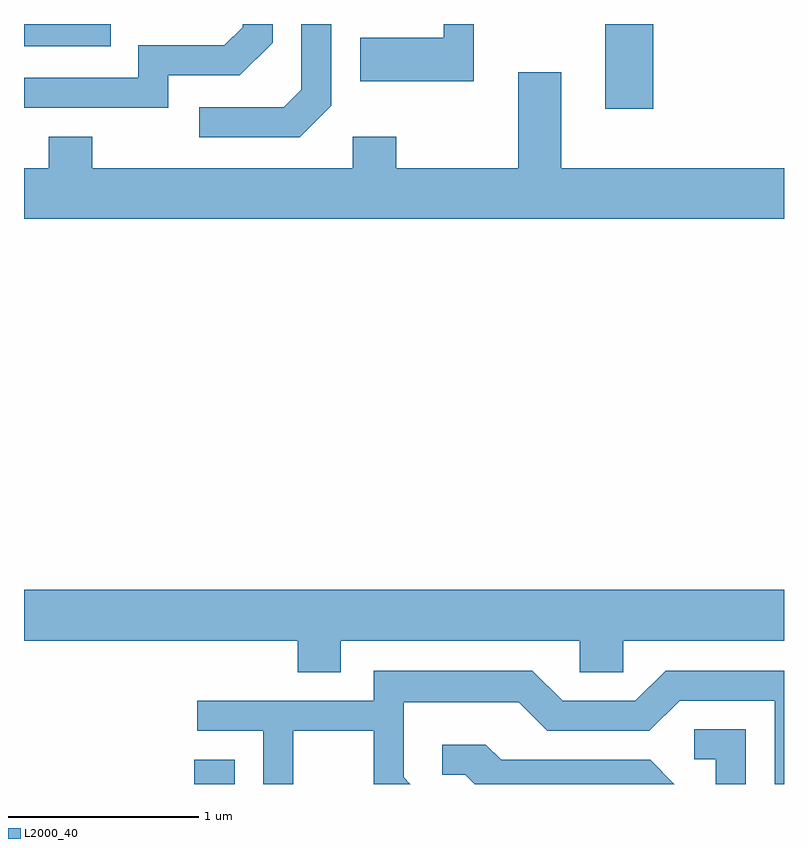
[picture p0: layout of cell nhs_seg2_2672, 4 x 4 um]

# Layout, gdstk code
import gdstk
lib = gdstk.Library(unit=1e-6, precision=1e-09)
def R(c, l, rs):  # rectangles x0, y0, x1, y1
    for r in rs: c.add(gdstk.rectangle(r[:2], r[2:], *l))
def P(c, l, *ps):  # polygons
    for p in ps: c.add(gdstk.Polygon(p, *l))
L2000_40 = (2000, 40)

nhs_seg2_2672 = lib.new_cell('nhs_seg2_2672')
R(nhs_seg2_2672, L2000_40, [(264.506,1029.802,264.719,1029.929), (266.671,1033.356,266.924,1033.802), (263.611,1033.686,264.068,1033.802)])
P(nhs_seg2_2672, L2000_40, [(265.979,1033.802),(265.821,1033.802),(265.821,1033.729),(265.381,1033.729),(265.381,1033.501),(265.979,1033.501)],
  [(265.229,1033.373),(265.229,1033.802),(265.071,1033.802),(265.071,1033.457),(264.979,1033.364),(264.533,1033.364),(264.533,1033.206),(265.062,1033.206)],
  [(264.369,1033.531),(264.747,1033.531),(264.919,1033.704),(264.919,1033.802),(264.761,1033.802),(264.761,1033.786),(264.664,1033.689),(264.211,1033.689),(264.211,1033.519),(263.611,1033.519),(263.611,1033.361),(264.369,1033.361)],
  [(267.611,1033.044),(266.439,1033.044),(266.439,1033.549),(266.211,1033.549),(266.211,1033.044),(265.569,1033.044),(265.569,1033.209),(265.341,1033.209),(265.341,1033.044),(263.969,1033.044),(263.969,1033.209),(263.741,1033.209),(263.741,1033.044),(263.611,1033.044),(263.611,1032.776),(267.611,1032.776)],
  [(265.279,1030.556),(266.536,1030.556),(266.536,1030.391),(266.764,1030.391),(266.764,1030.556),(267.611,1030.556),(267.611,1030.824),(263.611,1030.824),(263.611,1030.556),(265.051,1030.556),(265.051,1030.391),(265.279,1030.391)],
  [(265.029,1030.081),(265.451,1030.081),(265.451,1029.802),(265.644,1029.802),(265.609,1029.837),(265.609,1030.231),(266.214,1030.231),(266.364,1030.081),(266.902,1030.081),(267.062,1030.241),(267.561,1030.241),(267.561,1029.802),(267.611,1029.802),(267.611,1030.399),(266.989,1030.399),(266.829,1030.239),(266.447,1030.239),(266.287,1030.399),(265.451,1030.399),(265.451,1030.239),(264.523,1030.239),(264.523,1030.081),(264.871,1030.081),(264.871,1029.802),(265.029,1029.802)],
  [(267.409,1030.089),(267.138,1030.089),(267.138,1029.931),(267.251,1029.931),(267.251,1029.802),(267.409,1029.802)],
  [(266.907,1029.929),(266.122,1029.929),(266.042,1030.009),(265.813,1030.009),(265.813,1029.851),(265.934,1029.851),(265.983,1029.802),(267.034,1029.802)])

lib.write_gds('nhs_seg2_2672.gds')
